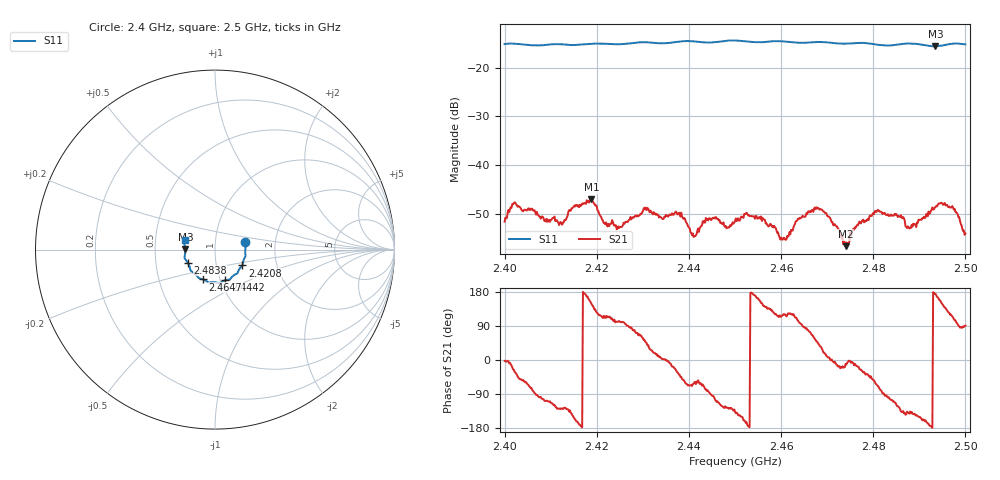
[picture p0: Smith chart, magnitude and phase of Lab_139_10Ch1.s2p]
# Hz S RI R 50
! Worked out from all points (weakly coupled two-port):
!   601 points, 2.4 GHz to 2.5 GHz, reference 50 ohm
!   highest |S21| = -46.96 dB at 2.4188 GHz (marker M1); lowest = -56.6 dB at 2.474 GHz (marker M2)
!   lowest |S11| = -15.7 dB at 2.4935 GHz (marker M3), VSWR 1.40, Z = 35.8 + j0.199 ohm
!   |S11| at or under -10 dB: start of sweep to end of sweep
!   S12 and S22 are empty: the file has one direction only
!   S11 on the Smith chart (normalised r, x): 2.4 GHz: 1.40, +0.12; 2.4208 GHz: 1.33, -0.24; 2.4442 GHz: 1.05, -0.37; 2.4647 GHz: 0.83, -0.28; 2.4838 GHz: 0.73, -0.11; 2.5 GHz: 0.71, +0.08
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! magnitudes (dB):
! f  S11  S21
! 2.4 GHz  -15.2  -51.6
! 2.4022 GHz  -15.1  -47.6
! 2.4123 GHz  -15.2  -52.0
! 2.4167 GHz  -15.3  -48.2
! 2.4188 GHz  -15.1  -47.0
! 2.4208 GHz  -15.1  -50.5
! 2.4333 GHz  -15.0  -50.2
! 2.4378 GHz  -14.7  -49.7
! 2.4412 GHz  -14.6  -54.5
! 2.4442 GHz  -14.9  -51.3
! 2.45 GHz  -14.5  -51.5
! 2.4557 GHz  -14.8  -50.5
! 2.4607 GHz  -14.7  -54.9
! 2.4647 GHz  -14.9  -50.4
! 2.4667 GHz  -14.8  -49.2
! 2.474 GHz  -15.1  -56.6
! 2.4833 GHz  -15.5  -50.4
! 2.4838 GHz  -15.5  -50.1
! 2.4877 GHz  -15.1  -52.7
! 2.4935 GHz  -15.7  -48.6
! 2.4975 GHz  -15.1  -49.1
! 2.5 GHz  -15.3  -54.0
